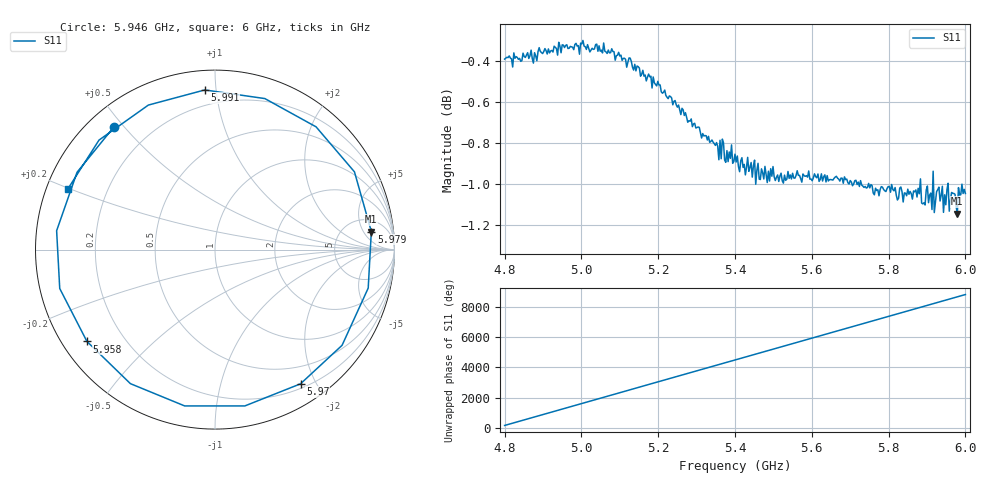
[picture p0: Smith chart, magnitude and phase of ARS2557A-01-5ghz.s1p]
! NanoVNA-App
! Date: 2026-05-25 01:54:20
! Start: 4.8GHz Stop: 6GHz Points: 401
! S-Parameter data: F S11
# Hz S RI R 50
!  Frequency  S11_Real  S11_Imag
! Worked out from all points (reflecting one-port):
!   401 points, 4.8 GHz to 6 GHz, reference 50 ohm
!   lowest |S11| = -1.1 dB at 5.979 GHz (marker M1), VSWR 15.24, Z = 431 + j376 ohm
!   phase of S11 starts at 162 deg and turns +8636 deg over the sweep
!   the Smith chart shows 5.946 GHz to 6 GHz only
!   S11 on the Smith chart (normalised r, x): 5.946 GHz: 0.07, +0.47; 5.958 GHz: 0.07, -0.32; 5.97 GHz: 0.26, -1.79; 5.979 GHz: 9, +8; 5.991 GHz: 0.11, +0.93; 6 GHz: 0.06, +0.20
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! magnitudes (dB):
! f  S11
! 4.8 GHz  -0.4
! 4.878 GHz  -0.4
! 4.893 GHz  -0.4
! 4.95 GHz  -0.3
! 5.004 GHz  -0.3
! 5.1 GHz  -0.4
! 5.25 GHz  -0.6
! 5.316 GHz  -0.8
! 5.4 GHz  -0.9
! 5.454 GHz  -1.0
! 5.46 GHz  -0.9
! 5.55 GHz  -0.9
! 5.7 GHz  -1.0
! 5.769 GHz  -1.0
! 5.802 GHz  -1.0
! 5.82 GHz  -1.1
! 5.85 GHz  -1.0
! 5.877 GHz  -1.0
! 5.892 GHz  -1.1
! 5.904 GHz  -1.1
! 5.916 GHz  -0.9
! 5.934 GHz  -1.1
! 5.946 GHz  -1.1
! 5.958 GHz  -1.1
! 5.97 GHz  -1.0
! 5.979 GHz  -1.1
! 5.991 GHz  -1.0
! 6 GHz  -1.0
